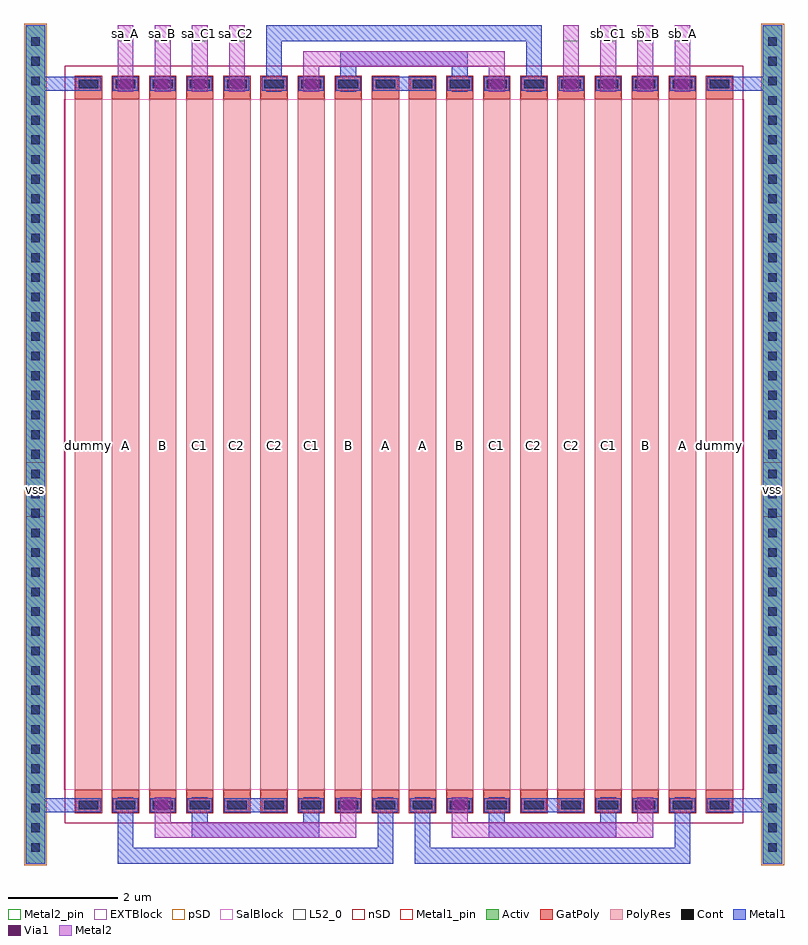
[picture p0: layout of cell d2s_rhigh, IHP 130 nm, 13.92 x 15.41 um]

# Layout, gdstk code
import gdstk
lib = gdstk.Library(unit=1e-6, precision=1e-09)
def R(c, l, rs):  # rectangles x0, y0, x1, y1
    for r in rs: c.add(gdstk.rectangle(r[:2], r[2:], *l))
def A(c, l, x, y, w, h, nx, ny, dx, dy):  # array of equal rectangles
    R(c, l, [(x+i*dx, y+j*dy, x+i*dx+w, y+j*dy+h) for i in range(nx) for j in range(ny)])
Activ = (1, 0)
GatPoly = (5, 0)
Cont = (6, 0)
nSD = (7, 0)
Metal1 = (8, 0)
Metal1_pin = (8, 2)
Metal2 = (10, 0)
Metal2_pin = (10, 2)
pSD = (14, 0)
Via1 = (19, 0)
SalBlock = (28, 0)
L52_0 = (52, 0)
EXTBlock = (111, 0)
PolyRes = (128, 0)

rhigh = lib.new_cell('rhigh')
R(rhigh, GatPoly, [(0,-0.43,0.5,0), (0,12.65,0.5,13.08)])
R(rhigh, Cont, [(0.07,-0.36,0.43,-0.2), (0.07,12.85,0.43,13.01)])
R(rhigh, nSD, [(-0.18,-0.61,0.68,0.18), (-0.18,0,0.68,12.65), (-0.18,0,0.68,12.65), (-0.18,12.47,0.68,13.26)])
R(rhigh, Metal1, [(0.02,-0.41,0.48,-0.15), (0.02,12.8,0.48,13.06)])
R(rhigh, Metal1_pin, [(0.02,-0.41,0.48,-0.15), (0.02,12.8,0.48,13.06)])
R(rhigh, pSD, [(-0.18,-0.61,0.68,0.18), (-0.18,0,0.68,12.65), (-0.18,0,0.68,12.65), (-0.18,12.47,0.68,13.26)])
R(rhigh, SalBlock, [(-0.2,0,0.7,12.65)])
R(rhigh, L52_0, [(0,0,0.5,12.65)])
R(rhigh, EXTBlock, [(-0.18,-0.61,0.68,0.18), (-0.2,0,0.7,12.65), (-0.18,12.47,0.68,13.26)])
R(rhigh, PolyRes, [(0,0,0.5,12.65)])
rhigh.add(gdstk.Label('rhigh r=37720.000', (0.25,6.325), layer=63, texttype=0))
rhigh.add(gdstk.Label('rhigh', (0.25,6.325), layer=52, texttype=0))

d2s_rhigh = lib.new_cell('d2s_rhigh')
R(d2s_rhigh, Activ, [(-0.9,-1.35,-0.54,14), (12.6,-1.35,12.96,14)])
A(d2s_rhigh, Cont, -0.8, -1.135, 0.16, 0.16, 1, 42, 0, 0.36)
A(d2s_rhigh, Cont, 12.7, -1.135, 0.16, 0.16, 1, 42, 0, 0.36)
R(d2s_rhigh, Metal1, [(-0.9,-1.35,-0.54,14), (0.785,-1.35,1.075,-0.135), (0.785,-1.35,5.835,-1.06), (5.545,-1.35,5.835,-0.135), (6.225,-1.35,6.515,-0.135), (6.225,-1.35,11.275,-1.06), (10.985,-1.35,11.275,-0.135), (12.6,-1.35,12.96,14), (2.145,-0.88,2.435,-0.135), (2.145,-0.88,4.475,-0.59), (4.185,-0.88,4.475,-0.135), (7.585,-0.88,7.875,-0.135), (7.585,-0.88,9.915,-0.59), (9.625,-0.88,9.915,-0.135), (-0.9,-0.41,0.48,-0.15), (2.74,-0.41,3.88,-0.15), (8.18,-0.41,9.32,-0.15), (11.58,-0.41,12.96,-0.15), (3.505,12.785,3.795,14), (4.865,12.785,5.155,13.53), (6.905,12.785,7.195,13.53), (8.265,12.785,8.555,14), (-0.9,12.8,0.48,13.06), (5.46,12.8,6.6,13.06), (11.58,12.8,12.96,13.06), (4.865,13.24,7.195,13.53), (3.505,13.71,8.555,14)])
R(d2s_rhigh, Metal1_pin, [(-0.9,5,-0.54,6), (12.6,5,12.96,6)])
A(d2s_rhigh, Metal2, 0.785, 12.785, 0.29, 1.215, 4, 1, 0.68, 0)
A(d2s_rhigh, Metal2, 8.945, 12.785, 0.29, 1.215, 4, 1, 0.68, 0)
R(d2s_rhigh, Metal2, [(1.465,-0.88,1.755,-0.135), (1.465,-0.88,5.155,-0.59), (4.865,-0.88,5.155,-0.135), (6.905,-0.88,7.195,-0.135), (6.905,-0.88,10.595,-0.59), (10.305,-0.88,10.595,-0.135), (4.185,12.785,4.475,13.53), (7.585,12.785,7.875,13.53), (4.185,13.24,7.875,13.53)])
A(d2s_rhigh, Metal2_pin, 0.785, 13.71, 0.29, 0.29, 4, 1, 0.68, 0)
A(d2s_rhigh, Metal2_pin, 8.945, 13.71, 0.29, 0.29, 4, 1, 0.68, 0)
R(d2s_rhigh, pSD, [(-0.93,-1.38,-0.51,14.03), (12.57,-1.38,12.99,14.03)])
A(d2s_rhigh, Via1, 0.835, 12.835, 0.19, 0.19, 4, 1, 0.68, 0)
A(d2s_rhigh, Via1, 8.995, 12.835, 0.19, 0.19, 4, 1, 0.68, 0)
R(d2s_rhigh, Via1, [(1.515,-0.375,1.705,-0.185), (4.915,-0.375,5.105,-0.185), (6.955,-0.375,7.145,-0.185), (10.355,-0.375,10.545,-0.185), (4.235,12.835,4.425,13.025), (7.635,12.835,7.825,13.025)])
d2s_rhigh.add(gdstk.Reference(rhigh, (0,0)))
d2s_rhigh.add(gdstk.Reference(rhigh, (0.68,0)))
d2s_rhigh.add(gdstk.Reference(rhigh, (1.36,0)))
d2s_rhigh.add(gdstk.Reference(rhigh, (2.04,0)))
d2s_rhigh.add(gdstk.Reference(rhigh, (2.72,0)))
d2s_rhigh.add(gdstk.Reference(rhigh, (3.4,0)))
d2s_rhigh.add(gdstk.Reference(rhigh, (4.08,0)))
d2s_rhigh.add(gdstk.Reference(rhigh, (4.76,0)))
d2s_rhigh.add(gdstk.Reference(rhigh, (5.44,0)))
d2s_rhigh.add(gdstk.Reference(rhigh, (6.12,0)))
d2s_rhigh.add(gdstk.Reference(rhigh, (6.8,0)))
d2s_rhigh.add(gdstk.Reference(rhigh, (7.48,0)))
d2s_rhigh.add(gdstk.Reference(rhigh, (8.16,0)))
d2s_rhigh.add(gdstk.Reference(rhigh, (8.84,0)))
d2s_rhigh.add(gdstk.Reference(rhigh, (9.52,0)))
d2s_rhigh.add(gdstk.Reference(rhigh, (10.2,0)))
d2s_rhigh.add(gdstk.Reference(rhigh, (10.88,0)))
d2s_rhigh.add(gdstk.Reference(rhigh, (11.56,0)))
d2s_rhigh.add(gdstk.Label('dummy', (0.25,6.3), layer=63, texttype=0))
d2s_rhigh.add(gdstk.Label('A', (0.93,6.3), layer=63, texttype=0))
d2s_rhigh.add(gdstk.Label('B', (1.61,6.3), layer=63, texttype=0))
d2s_rhigh.add(gdstk.Label('C1', (2.29,6.3), layer=63, texttype=0))
d2s_rhigh.add(gdstk.Label('C2', (2.97,6.3), layer=63, texttype=0))
d2s_rhigh.add(gdstk.Label('C2', (3.65,6.3), layer=63, texttype=0))
d2s_rhigh.add(gdstk.Label('C1', (4.33,6.3), layer=63, texttype=0))
d2s_rhigh.add(gdstk.Label('B', (5.01,6.3), layer=63, texttype=0))
d2s_rhigh.add(gdstk.Label('A', (5.69,6.3), layer=63, texttype=0))
d2s_rhigh.add(gdstk.Label('A', (6.37,6.3), layer=63, texttype=0))
d2s_rhigh.add(gdstk.Label('B', (7.05,6.3), layer=63, texttype=0))
d2s_rhigh.add(gdstk.Label('C1', (7.73,6.3), layer=63, texttype=0))
d2s_rhigh.add(gdstk.Label('C2', (8.41,6.3), layer=63, texttype=0))
d2s_rhigh.add(gdstk.Label('C2', (9.09,6.3), layer=63, texttype=0))
d2s_rhigh.add(gdstk.Label('C1', (9.77,6.3), layer=63, texttype=0))
d2s_rhigh.add(gdstk.Label('B', (10.45,6.3), layer=63, texttype=0))
d2s_rhigh.add(gdstk.Label('A', (11.13,6.3), layer=63, texttype=0))
d2s_rhigh.add(gdstk.Label('dummy', (11.81,6.3), layer=63, texttype=0))
d2s_rhigh.add(gdstk.Label('vss', (-0.72,5.5), layer=8, texttype=25))
d2s_rhigh.add(gdstk.Label('vss', (12.78,5.5), layer=8, texttype=25))
d2s_rhigh.add(gdstk.Label('sa_A', (0.93,13.855), layer=10, texttype=25))
d2s_rhigh.add(gdstk.Label('sb_A', (11.13,13.855), layer=10, texttype=25))
d2s_rhigh.add(gdstk.Label('sa_B', (1.61,13.855), layer=10, texttype=25))
d2s_rhigh.add(gdstk.Label('sb_B', (10.45,13.855), layer=10, texttype=25))
d2s_rhigh.add(gdstk.Label('sa_C1', (2.29,13.855), layer=10, texttype=25))
d2s_rhigh.add(gdstk.Label('sb_C1', (9.77,13.855), layer=10, texttype=25))
d2s_rhigh.add(gdstk.Label('sa_C2', (2.97,13.855), layer=10, texttype=25))
d2s_rhigh.add(gdstk.Label('sb_C2', (9.09,13.855), layer=10, texttype=25))

lib.write_gds('d2s_rhigh.gds')
